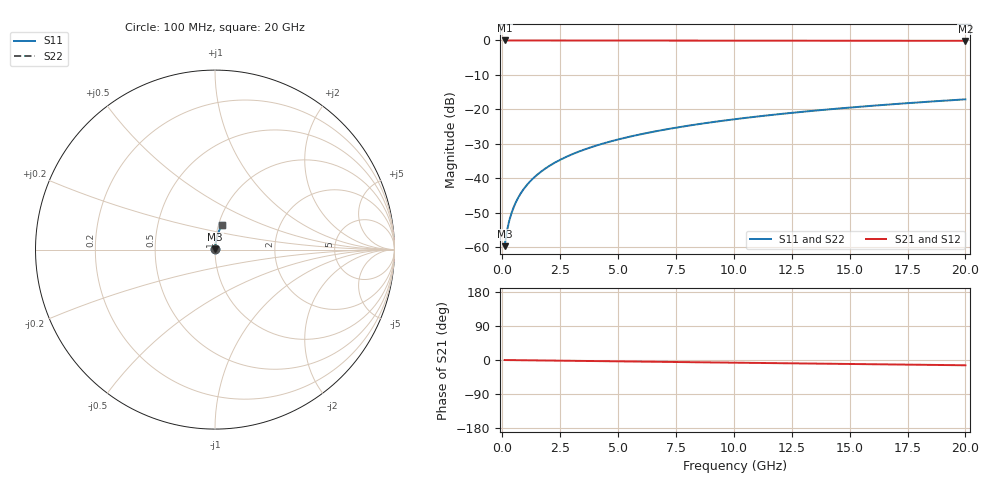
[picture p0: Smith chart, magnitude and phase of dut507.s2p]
! Touchstone file exported from HFSS 2026.1.0
!  File:  C:/ffzhzh/LocalFiles/Ansys_Project_Files/temp_train_TMRDL_507_1783006870_51716.aedt
!  Generated:  11:42:33 PM Jul  2, 2026
!  Design:  TMRDL
!  Project:  temp_train_TMRDL_507_1783006870_51716
! Variables:
!  h_bsmrdl = 2um
!  h_ox = 20um
!  h_rdl = 5um
!  h_sub = 80um
!  h_tmrdl = 4.78um
!  h_tsv = 80um
!  h_via = 3um
!  l_bsmrdl = 300um
!  l_sub = 563.31um
!  l_tmrdl = 163.31um
!  m_sub = 200um
!  pitch = 54.21um
!  r_tsv = 6um
!  s_tmrdl = 10um
!  w_bsmrdl = 18um
!  w_sub = 500um
!  w_tmrdl = 25.42um
!  x_tsv_center1 = 176.02um
!  x_tsv_center2 = 494.02um
!  x_tsv_center3 = 682.75um
!  x_tsv_center4 = 1000.75um
!  x_tsv_center5 = 1189.48um
!  x_tsv_center6 = 1507.48um
# GHz S MA R 50.000000
! Terminal data exported
! Port[1] = TM_RDL1_1_T1
! Port[2] = TM_RDL1_1_T2
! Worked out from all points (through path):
!   200 points, 100 MHz to 20 GHz, reference 50 ohm
!   highest |S21| = -0.01 dB at 100 MHz (marker M1); lowest = -0.1 dB at 20 GHz (marker M2)
!   group delay of S21, straight-line fit = 1.93 ps
!   lowest |S11| = -59.7 dB at 100 MHz (marker M3), VSWR 1.00, Z = 50.1 + j0.0803 ohm
!   |S11| at or under -10 dB: start of sweep to end of sweep
!   |S22| runs from -59.7 to -17.1 dB; largest |S21 - S12| = 8e-15
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0.1  0.001034 50.9  0.9993 -0.1  0.9993 -0.1  0.001034 50.9
! Gamma 0 0 0 0
! Port Impedance 50 0 50 0
0.2  0.001715 65.9  0.9993 -0.1  0.9993 -0.1  0.001715 65.9
0.3  0.002423 72.2  0.9993 -0.2  0.9993 -0.2  0.002423 72.2
0.4  0.003138 75.8  0.9992 -0.3  0.9992 -0.3  0.003138 75.8
0.5  0.00386 78.1  0.9992 -0.4  0.9992 -0.4  0.00386 78.1
0.7  0.005318 80.9  0.9992 -0.5  0.9992 -0.5  0.005318 80.9
0.8  0.00605 81.8  0.9992 -0.6  0.9992 -0.6  0.00605 81.8
1  0.007521 82.9  0.9991 -0.7  0.9991 -0.7  0.007521 82.9
1.2  0.008993 83.7  0.9991 -0.9  0.9991 -0.9  0.008993 83.7
1.4  0.01047 84.1  0.9991 -1.0  0.9991 -1.0  0.01047 84.1
1.7  0.01267 84.6  0.999 -1.2  0.999 -1.2  0.01267 84.6
2  0.01488 84.8  0.9989 -1.4  0.9989 -1.4  0.01488 84.8
2.7  0.02 84.8  0.9987 -1.9  0.9987 -1.9  0.02 84.8
3.5  0.0258 84.6  0.9984 -2.5  0.9984 -2.5  0.0258 84.6
4.2  0.03083 84.3  0.9981 -3.0  0.9981 -3.0  0.03083 84.3
5  0.03655 83.9  0.9977 -3.6  0.9977 -3.6  0.03655 83.9
6.8  0.04929 82.9  0.9968 -4.8  0.9968 -4.8  0.04929 82.9
8.3  0.05982 82.0  0.996 -5.9  0.996 -5.9  0.05982 82.0
10.1  0.07237 80.9  0.9949 -7.1  0.9949 -7.1  0.07237 80.9
13.4  0.09516 78.9  0.9926 -9.4  0.9926 -9.4  0.09516 78.9
16.7  0.1176 76.8  0.9898 -11.7  0.9898 -11.7  0.1176 76.8
20  0.1397 74.6  0.9867 -13.9  0.9867 -13.9  0.1397 74.6
